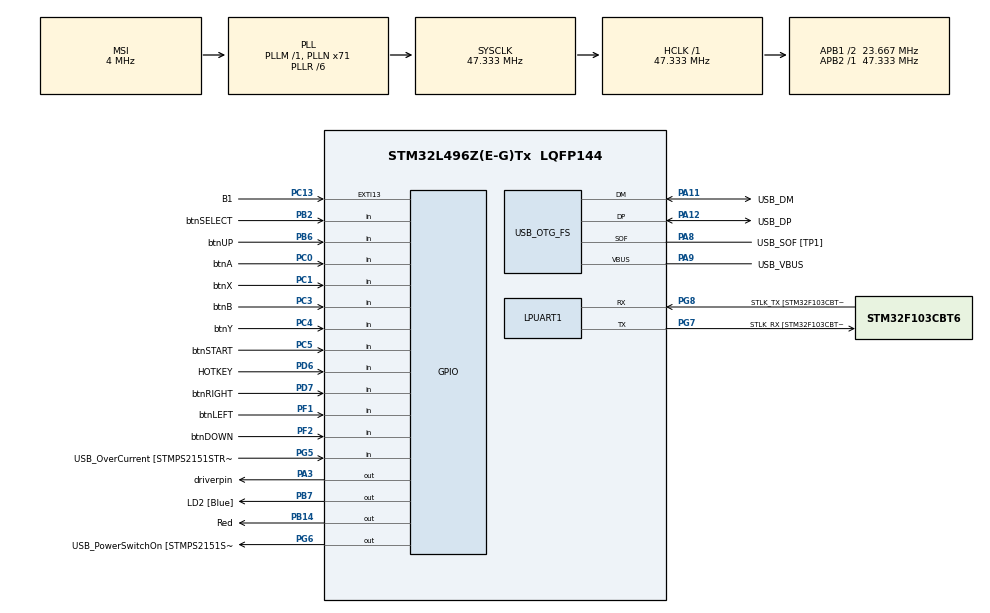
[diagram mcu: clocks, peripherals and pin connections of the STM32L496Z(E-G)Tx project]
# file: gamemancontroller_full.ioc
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FREERTOS.Tasks01=defaultTask,24,128,StartDefaultTask,Default,NULL,Dynamic,NULL,NULL
Mcu.Family=STM32L4
Mcu.Name=STM32L496Z(E-G)Tx
Mcu.Package=LQFP144
NVIC.OTG_FS_IRQn=true\:5\:0\:false\:false\:true\:true\:false\:true\:true
NVIC.PriorityGroup=NVIC_PRIORITYGROUP_4
PA10.GPIO_Label=USB_ID
PA10.Signal=USB_OTG_FS_ID
PA11.GPIO_Label=USB_DM
PA11.Mode=Device_Only
PA11.Signal=USB_OTG_FS_DM
PA12.GPIO_Label=USB_DP
PA12.Mode=Device_Only
PA12.Signal=USB_OTG_FS_DP
PA13\ (JTMS/SWDIO).GPIO_Label=TMS
PA13\ (JTMS/SWDIO).Mode=Trace_Asynchronous_SW
PA13\ (JTMS/SWDIO).Signal=SYS_JTMS-SWDIO
PA14\ (JTCK/SWCLK).GPIO_Label=TCK
PA14\ (JTCK/SWCLK).Mode=Trace_Asynchronous_SW
PA14\ (JTCK/SWCLK).Signal=SYS_JTCK-SWCLK
PA3.GPIO_Label=driverpin
PA3.Signal=GPIO_Output
PA8.GPIO_Label=USB_SOF [TP1]
PA8.Mode=Activate_SOF_FS
PA8.Signal=USB_OTG_FS_SOF
PA9.GPIO_Label=USB_VBUS
PA9.Mode=Activate_VBUS
PA9.Signal=USB_OTG_FS_VBUS
PB14.GPIO_Label=Red
PB14.Signal=GPIO_Output
PB2.GPIO_Label=btnSELECT
PB2.Signal=GPIO_Input
PB3\ (JTDO/TRACESWO).GPIO_Label=SWO
PB3\ (JTDO/TRACESWO).Mode=Trace_Asynchronous_SW
PB3\ (JTDO/TRACESWO).Signal=SYS_JTDO-SWO
PB6.GPIO_Label=btnUP
PB6.Signal=GPIO_Input
PB7.GPIO_Label=LD2 [Blue]
PB7.Signal=GPIO_Output
PC0.GPIO_Label=btnA
PC0.Signal=GPIO_Input
PC1.GPIO_Label=btnX
PC1.Signal=GPIO_Input
PC13.GPIO_Label=B1
PC13.Signal=GPXTI13
PC14-OSC32_IN\ (PC14).Mode=LSE-External-Oscillator
PC14-OSC32_IN\ (PC14).Signal=RCC_OSC32_IN
PC15-OSC32_OUT\ (PC15).Mode=LSE-External-Oscillator
PC15-OSC32_OUT\ (PC15).Signal=RCC_OSC32_OUT
PC3.GPIO_Label=btnB
PC3.Signal=GPIO_Input
PC4.GPIO_Label=btnY
PC4.Signal=GPIO_Input
PC5.GPIO_Label=btnSTART
PC5.Signal=GPIO_Input
PD6.GPIO_Label=HOTKEY
PD6.Signal=GPIO_Input
PD7.GPIO_Label=btnRIGHT
PD7.Signal=GPIO_Input
PF1.GPIO_Label=btnLEFT
PF1.Signal=GPIO_Input
PF2.GPIO_Label=btnDOWN
PF2.Signal=GPIO_Input
PG5.GPIO_Label=USB_OverCurrent [STMPS2151STR_FAULT]
PG5.Signal=GPIO_Input
PG6.GPIO_Label=USB_PowerSwitchOn [STMPS2151STR_EN]
PG6.Signal=GPIO_Output
PG7.GPIO_Label=STLK_RX [STM32F103CBT6_PA3]
PG7.Mode=Asynchronous
PG7.Signal=LPUART1_TX
PG8.GPIO_Label=STLK_TX [STM32F103CBT6_PA2]
PG8.Mode=Asynchronous
PG8.Signal=LPUART1_RX
PH1-OSC_OUT\ (PH1).Signal=RCC_OSC_OUT
ProjectManager.HeapSize=0x200
ProjectManager.StackSize=0x400
ProjectManager.TargetToolchain=STM32CubeIDE
RCC.48MHZClocksFreq_Value=24000000
RCC.ADCFreq_Value=48000000
RCC.AHBFreq_Value=47333333.333333336
RCC.APB1CLKDivider=RCC_HCLK_DIV2
RCC.APB1Freq_Value=23666666.666666668
RCC.APB1TimFreq_Value=47333333.333333336
RCC.APB2Freq_Value=47333333.333333336
RCC.APB2TimFreq_Value=47333333.333333336
RCC.CortexFreq_Value=47333333.333333336
RCC.HCLKFreq_Value=47333333.333333336
RCC.HSE_VALUE=8000000
RCC.HSI48_VALUE=48000000
RCC.HSI_VALUE=16000000
RCC.MSI_VALUE=4000000
RCC.PLLMUL=RCC_PLL_MUL9
RCC.PLLN=71
RCC.PLLR=RCC_PLLR_DIV6
RCC.PLLSAI1N=24
RCC.PRESCALERUSB=RCC_USBCLKSOURCE_PLL_DIV1_5
RCC.SYSCLKFreq_VALUE=47333333.333333336
RCC.SYSCLKSource=RCC_SYSCLKSOURCE_PLLCLK
RCC.SYSCLKSourceVirtual=RCC_SYSCLKSOURCE_PLLCLK
RCC.USBFreq_Value=48000000
RCC.VCOOutputFreq_Value=284000000
USB_DEVICE.CLASS_NAME_FS=HID
USB_DEVICE.VirtualMode=Hid
USB_DEVICE.VirtualModeFS=Hid_FS
USB_OTG_FS.VirtualMode=Device_Only
VP_FREERTOS_VS_CMSIS_V2.Mode=CMSIS_V2
VP_TIM2_VS_ClockSourceINT.Mode=Internal
VP_USB_DEVICE_VS_USB_DEVICE_HID_FS.Mode=HID_FS
board=NUCLEO-L496ZG

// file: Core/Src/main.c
/* USER CODE BEGIN Header */
/**
  ******************************************************************************
  * @file           : main.c
  * @brief          : Main program body
  ******************************************************************************
  * @attention
  *
  * Copyright (c) 2023 STMicroelectronics.
  * All rights reserved.
  *
  * This software is licensed under terms that can be found in the LICENSE file
  * in the root directory of this software component.
  * If no LICENSE file comes with this software, it is provided AS-IS.
  *
  ******************************************************************************
  */
/* USER CODE END Header */
#include "main.h"
#include "cmsis_os.h"
#include "usb_device.h"

/* USER CODE BEGIN Includes */
#include <stdbool.h>
#include "usbd_hid.h"
#include "capacitivekey.h"
/* USER CODE END Includes */

UART_HandleTypeDef hlpuart1;

TIM_HandleTypeDef htim2;

/* Definitions for defaultTask */
osThreadId_t defaultTaskHandle;
const osThreadAttr_t defaultTask_attributes = {
  .name = "defaultTask",
  .stack_size = 128 * 4,
  .priority = (osPriority_t) osPriorityNormal,
};
/* USER CODE BEGIN PV */
osThreadId_t checkkeysTaskHandle;
const osThreadAttr_t checkkeysTaskHandle_attributes = {
  .name = "checkkeytask",
  .stack_size = 456 * 4,
  .priority = (osPriority_t) osPriorityNormal,
};

extern USBD_HandleTypeDef hUsbDeviceFS;

typedef struct
{
	uint8_t MODIFIER;
	uint8_t RESERVED;
	uint8_t KEYCODE1;
	uint8_t KEYCODE2;
	uint8_t KEYCODE3;
	uint8_t KEYCODE4;
	uint8_t KEYCODE5;
	uint8_t KEYCODE6;
}subKeyBoard;

subKeyBoard keyBoardHIDsub = {0,0,0,0,0,0,0,0}; // needs to be global for funky pointer reasons

/* USER CODE END PV */

void SystemClock_Config(void);
static void MX_GPIO_Init(void);
static void MX_LPUART1_UART_Init(void);
static void MX_TIM2_Init(void);
void StartDefaultTask(void *argument);

/* USER CODE BEGIN PFP */
void checkkeys(void *argument);
/* USER CODE END PFP */

/* USER CODE BEGIN 0 */
// setup the list of keys
const uint8_t keycount = 11; // 4 buttons + 4 directional + start + select + hotkey

// A button
capkey_t buttonA;

// B button
capkey_t buttonB;

// X button
capkey_t buttonX;

// Y button
capkey_t buttonY;

// up button
capkey_t buttonUp;

// down button
capkey_t buttonDown;

// left button
capkey_t buttonLeft;

// right button
capkey_t buttonRight;

// select button
capkey_t buttonSelect;

// start button
capkey_t buttonStart;

// HOTKEY
capkey_t buttonHotkey;

/* USER CODE END 0 */

int main(void)
{

  /* MCU Configuration--------------------------------------------------------*/

  /* Reset of all peripherals, Initializes the Flash interface and the Systick. */
  HAL_Init();

  /* USER CODE BEGIN Init */
  buttonA.pinIndex = 0;
  //buttonA.pinName = "btnA";
  buttonA.gpioport = btnA_GPIO_Port;
  buttonA.gpiopin = btnA_Pin;
  buttonA.triggerTime = 3000;
  buttonA.keyCode = 0x04;

  // B button

  buttonB.pinIndex = 1;
  buttonB.gpioport = btnB_GPIO_Port;
  buttonB.gpiopin = btnB_Pin;
  buttonB.triggerTime = 3000;
  buttonB.keyCode = 0x05;

  // X button

  buttonX.pinIndex = 2;
  buttonX.gpioport = btnX_GPIO_Port;
  buttonX.gpiopin = btnX_Pin;
  buttonX.triggerTime = 3000;
  buttonX.keyCode = 0x1B;

  // Y button

  buttonY.pinIndex = 3;
  buttonY.gpioport = btnY_GPIO_Port;
  buttonY.gpiopin = btnY_Pin;
  buttonY.triggerTime = 3000;
  buttonY.keyCode = 0x1C;

  // up button

  buttonUp.pinIndex = 4;
  buttonUp.gpioport = btnUP_GPIO_Port;
  buttonUp.gpiopin = btnUP_Pin;
  buttonUp.triggerTime = 3000;
  buttonUp.keyCode = 0x52;

  // down button

  buttonDown.pinIndex = 5;
  buttonDown.gpioport = btnDOWN_GPIO_Port;
  buttonDown.gpiopin = btnDOWN_Pin;
  buttonDown.triggerTime = 3000;
  buttonDown.keyCode = 0x51;

  // left button

  buttonLeft.pinIndex = 6;
  buttonLeft.gpioport = btnLEFT_GPIO_Port;
  buttonLeft.gpiopin = btnLEFT_Pin;
  buttonLeft.triggerTime = 3000;
  buttonLeft.keyCode = 0x50;

  // right button

  buttonRight.pinIndex = 7;
  buttonRight.gpioport = btnRIGHT_GPIO_Port;
  buttonRight.gpiopin = btnRIGHT_Pin;
  buttonRight.triggerTime = 3000;
  buttonRight.keyCode = 0x4F;

  // select button

  buttonSelect.pinIndex = 8;
  buttonSelect.gpioport = btnSELECT_GPIO_Port;
  buttonSelect.gpiopin = btnSELECT_Pin;
  buttonSelect.triggerTime = 3000;
  buttonSelect.keyCode = 0x18; // scan key code for u

  // start button

  buttonStart.pinIndex = 9;
  buttonStart.gpioport = btnSTART_GPIO_Port;
  buttonStart.gpiopin = btnSTART_Pin;
  buttonStart.triggerTime = 3000;
  buttonStart.keyCode = 0x19; // scan key code for v

  // HOTKEY

  buttonHotkey.pinIndex = 10;
  buttonHotkey.gpioport = HOTKEY_GPIO_Port;
  buttonHotkey.gpiopin = HOTKEY_Pin;
  buttonHotkey.triggerTime = 3000;
  buttonHotkey.keyCode = 0x0B; // scan key code for h

  /* USER CODE END Init */

  /* Configure the system clock */
  SystemClock_Config();

  /* Initialize all configured peripherals */
  MX_GPIO_Init();
  MX_LPUART1_UART_Init();
  MX_TIM2_Init();

  /* Init scheduler */
  osKernelInitialize();

  /* Create the thread(s) */
  /* creation of defaultTask */
  defaultTaskHandle = osThreadNew(StartDefaultTask, NULL, &defaultTask_attributes);
  checkkeysTaskHandle = osThreadNew(checkkeys, NULL, &checkkeysTaskHandle_attributes);

  /* Start scheduler */
  osKernelStart();

  /* We should never get here as control is now taken by the scheduler */
  /* Infinite loop */
  while (1)
  {

  }
}

void SystemClock_Config(void)
{
  RCC_OscInitTypeDef RCC_OscInitStruct = {0};
  RCC_ClkInitTypeDef RCC_ClkInitStruct = {0};

  /** Configure the main internal regulator output voltage
  */
  if (HAL_PWREx_ControlVoltageScaling(PWR_REGULATOR_VOLTAGE_SCALE1) != HAL_OK)
  {
    Error_Handler();
  }

  /** Configure LSE Drive Capability
  */
  HAL_PWR_EnableBkUpAccess();
  __HAL_RCC_LSEDRIVE_CONFIG(RCC_LSEDRIVE_LOW);

  /** Initializes the RCC Oscillators according to the specified parameters
  * in the RCC_OscInitTypeDef structure.
  */
  RCC_OscInitStruct.OscillatorType = RCC_OSCILLATORTYPE_LSE|RCC_OSCILLATORTYPE_MSI;
  RCC_OscInitStruct.LSEState = RCC_LSE_ON;
  RCC_OscInitStruct.MSIState = RCC_MSI_ON;
  RCC_OscInitStruct.MSICalibrationValue = 0;
  RCC_OscInitStruct.MSIClockRange = RCC_MSIRANGE_6;
  RCC_OscInitStruct.PLL.PLLState = RCC_PLL_ON;
  RCC_OscInitStruct.PLL.PLLSource = RCC_PLLSOURCE_MSI;
  RCC_OscInitStruct.PLL.PLLM = 1;
  RCC_OscInitStruct.PLL.PLLN = 71;
  RCC_OscInitStruct.PLL.PLLP = RCC_PLLP_DIV2;
  RCC_OscInitStruct.PLL.PLLQ = RCC_PLLQ_DIV2;
  RCC_OscInitStruct.PLL.PLLR = RCC_PLLR_DIV6;
  if (HAL_RCC_OscConfig(&RCC_OscInitStruct) != HAL_OK)
  {
    Error_Handler();
  }

  /** Initializes the CPU, AHB and APB buses clocks
  */
  RCC_ClkInitStruct.ClockType = RCC_CLOCKTYPE_HCLK|RCC_CLOCKTYPE_SYSCLK
                              |RCC_CLOCKTYPE_PCLK1|RCC_CLOCKTYPE_PCLK2;
  RCC_ClkInitStruct.SYSCLKSource = RCC_SYSCLKSOURCE_PLLCLK;
  RCC_ClkInitStruct.AHBCLKDivider = RCC_SYSCLK_DIV1;
  RCC_ClkInitStruct.APB1CLKDivider = RCC_HCLK_DIV2;
  RCC_ClkInitStruct.APB2CLKDivider = RCC_HCLK_DIV1;

  if (HAL_RCC_ClockConfig(&RCC_ClkInitStruct, FLASH_LATENCY_2) != HAL_OK)
  {
    Error_Handler();
  }

  /** Enable MSI Auto calibration
  */
  HAL_RCCEx_EnableMSIPLLMode();
}

static void MX_LPUART1_UART_Init(void)
{

  hlpuart1.Instance = LPUART1;
  hlpuart1.Init.BaudRate = 209700;
  hlpuart1.Init.WordLength = UART_WORDLENGTH_7B;
  hlpuart1.Init.StopBits = UART_STOPBITS_1;
  hlpuart1.Init.Parity = UART_PARITY_NONE;
  hlpuart1.Init.Mode = UART_MODE_TX_RX;
  hlpuart1.Init.HwFlowCtl = UART_HWCONTROL_NONE;
  hlpuart1.Init.OneBitSampling = UART_ONE_BIT_SAMPLE_DISABLE;
  hlpuart1.AdvancedInit.AdvFeatureInit = UART_ADVFEATURE_NO_INIT;
  if (HAL_UART_Init(&hlpuart1) != HAL_OK)
  {
    Error_Handler();
  }

}

static void MX_TIM2_Init(void)
{

  TIM_ClockConfigTypeDef sClockSourceConfig = {0};
  TIM_MasterConfigTypeDef sMasterConfig = {0};

  htim2.Instance = TIM2;
  htim2.Init.Prescaler = 0;
  htim2.Init.CounterMode = TIM_COUNTERMODE_UP;
  htim2.Init.Period = 4294967295;
  htim2.Init.ClockDivision = TIM_CLOCKDIVISION_DIV1;
  htim2.Init.AutoReloadPreload = TIM_AUTORELOAD_PRELOAD_DISABLE;
  if (HAL_TIM_Base_Init(&htim2) != HAL_OK)
  {
    Error_Handler();
  }
  sClockSourceConfig.ClockSource = TIM_CLOCKSOURCE_INTERNAL;
  if (HAL_TIM_ConfigClockSource(&htim2, &sClockSourceConfig) != HAL_OK)
  {
    Error_Handler();
  }
  sMasterConfig.MasterOutputTrigger = TIM_TRGO_RESET;
  sMasterConfig.MasterSlaveMode = TIM_MASTERSLAVEMODE_DISABLE;
  if (HAL_TIMEx_MasterConfigSynchronization(&htim2, &sMasterConfig) != HAL_OK)
  {
    Error_Handler();
  }

}

static void MX_GPIO_Init(void)
{
  GPIO_InitTypeDef GPIO_InitStruct = {0};

  /* GPIO Ports Clock Enable */
  __HAL_RCC_GPIOC_CLK_ENABLE();
  __HAL_RCC_GPIOF_CLK_ENABLE();
  __HAL_RCC_GPIOH_CLK_ENABLE();
  __HAL_RCC_GPIOA_CLK_ENABLE();
  __HAL_RCC_GPIOB_CLK_ENABLE();
  __HAL_RCC_GPIOG_CLK_ENABLE();
  HAL_PWREx_EnableVddIO2();
  __HAL_RCC_GPIOD_CLK_ENABLE();

  /*Configure GPIO pin Output Level */
  HAL_GPIO_WritePin(driverpin_GPIO_Port, driverpin_Pin, GPIO_PIN_RESET);

  /*Configure GPIO pin Output Level */
  HAL_GPIO_WritePin(GPIOB, Red_Pin|LD2_Pin, GPIO_PIN_RESET);

  /*Configure GPIO pin Output Level */
  HAL_GPIO_WritePin(USB_PowerSwitchOn_GPIO_Port, USB_PowerSwitchOn_Pin, GPIO_PIN_RESET);

  /*Configure GPIO pin : B1_Pin */
  GPIO_InitStruct.Pin = B1_Pin;
  GPIO_InitStruct.Mode = GPIO_MODE_IT_RISING;
  GPIO_InitStruct.Pull = GPIO_NOPULL;
  HAL_GPIO_Init(B1_GPIO_Port, &GPIO_InitStruct);

  /*Configure GPIO pins : btnLEFT_Pin btnDOWN_Pin */
  GPIO_InitStruct.Pin = btnLEFT_Pin|btnDOWN_Pin;
  GPIO_InitStruct.Mode = GPIO_MODE_INPUT;
  GPIO_InitStruct.Pull = GPIO_NOPULL;
  HAL_GPIO_Init(GPIOF, &GPIO_InitStruct);

  /*Configure GPIO pins : btnA_Pin btnX_Pin btnB_Pin btnY_Pin
                           btnSTART_Pin */
  GPIO_InitStruct.Pin = btnA_Pin|btnX_Pin|btnB_Pin|btnY_Pin
                          |btnSTART_Pin;
  GPIO_InitStruct.Mode = GPIO_MODE_INPUT;
  GPIO_InitStruct.Pull = GPIO_NOPULL;
  HAL_GPIO_Init(GPIOC, &GPIO_InitStruct);

  /*Configure GPIO pin : driverpin_Pin */
  GPIO_InitStruct.Pin = driverpin_Pin;
  GPIO_InitStruct.Mode = GPIO_MODE_OUTPUT_PP;
  GPIO_InitStruct.Pull = GPIO_NOPULL;
  GPIO_InitStruct.Speed = GPIO_SPEED_FREQ_LOW;
  HAL_GPIO_Init(driverpin_GPIO_Port, &GPIO_InitStruct);

  /*Configure GPIO pins : btnSELECT_Pin btnUP_Pin */
  GPIO_InitStruct.Pin = btnSELECT_Pin|btnUP_Pin;
  GPIO_InitStruct.Mode = GPIO_MODE_INPUT;
  GPIO_InitStruct.Pull = GPIO_NOPULL;
  HAL_GPIO_Init(GPIOB, &GPIO_InitStruct);

  /*Configure GPIO pins : Red_Pin LD2_Pin */
  GPIO_InitStruct.Pin = Red_Pin|LD2_Pin;
  GPIO_InitStruct.Mode = GPIO_MODE_OUTPUT_PP;
  GPIO_InitStruct.Pull = GPIO_NOPULL;
  GPIO_InitStruct.Speed = GPIO_SPEED_FREQ_LOW;
  HAL_GPIO_Init(GPIOB, &GPIO_InitStruct);

  /*Configure GPIO pin : USB_OverCurrent_Pin */
  GPIO_InitStruct.Pin = USB_OverCurrent_Pin;
  GPIO_InitStruct.Mode = GPIO_MODE_INPUT;
  GPIO_InitStruct.Pull = GPIO_NOPULL;
  HAL_GPIO_Init(USB_OverCurrent_GPIO_Port, &GPIO_InitStruct);

  /*Configure GPIO pin : USB_PowerSwitchOn_Pin */
  GPIO_InitStruct.Pin = USB_PowerSwitchOn_Pin;
  GPIO_InitStruct.Mode = GPIO_MODE_OUTPUT_PP;
  GPIO_InitStruct.Pull = GPIO_NOPULL;
  GPIO_InitStruct.Speed = GPIO_SPEED_FREQ_LOW;
  HAL_GPIO_Init(USB_PowerSwitchOn_GPIO_Port, &GPIO_InitStruct);

  /*Configure GPIO pins : HOTKEY_Pin btnRIGHT_Pin */
  GPIO_InitStruct.Pin = HOTKEY_Pin|btnRIGHT_Pin;
  GPIO_InitStruct.Mode = GPIO_MODE_INPUT;
  GPIO_InitStruct.Pull = GPIO_NOPULL;
  HAL_GPIO_Init(GPIOD, &GPIO_InitStruct);

}

/* USER CODE BEGIN 4 */
void checkkeys(void *argument)
{
	// make sure to actually start the counter!
	HAL_TIM_Base_Start(&htim2);

//	// setup the list of keys
//	const uint8_t keycount = 11; // 4 buttons + 4 directional + start + select + hotkey
//
//	// A button
//	capkey_t buttonA;
//	buttonA.pinIndex = 0;
//	//buttonA.pinName = "btnA";
//	buttonA.gpioport = btnA_GPIO_Port;
//	buttonA.gpiopin = btnA_Pin;
//	buttonA.triggerTime = 3000;
//	buttonA.keyCode = 0x04;
//
//	// B button
//	capkey_t buttonB;
//	buttonB.pinIndex = 1;
//	buttonB.gpioport = btnB_GPIO_Port;
//	buttonB.gpiopin = btnB_Pin;
//	buttonB.triggerTime = 3000;
//	buttonB.keyCode = 0x05;
//
//	// X button
//	capkey_t buttonX;
//	buttonX.pinIndex = 2;
//	buttonX.gpioport = btnX_GPIO_Port;
//	buttonX.gpiopin = btnX_Pin;
//	buttonX.triggerTime = 3000;
//	buttonX.keyCode = 0x1B;
//
//	// Y button
//	capkey_t buttonY;
//	buttonY.pinIndex = 3;
//	buttonY.gpioport = btnY_GPIO_Port;
//	buttonY.gpiopin = btnY_Pin;
//	buttonY.triggerTime = 3000;
//	buttonY.keyCode = 0x1C;
//
//	// up button
//	capkey_t buttonUp;
//	buttonUp.pinIndex = 4;
//	buttonUp.gpioport = btnUP_GPIO_Port;
//	buttonUp.gpiopin = btnUP_Pin;
//	buttonUp.triggerTime = 3000;
//	buttonUp.keyCode = 0x52;
//
//	// down button
//	capkey_t buttonDown;
//	buttonDown.pinIndex = 5;
//	buttonDown.gpioport = btnDOWN_GPIO_Port;
//	buttonDown.gpiopin = btnDOWN_Pin;
//	buttonDown.triggerTime = 3000;
//	buttonDown.keyCode = 0x51;
//
//	// left button
//	capkey_t buttonLeft;
//	buttonLeft.pinIndex = 6;
//	buttonLeft.gpioport = btnLEFT_GPIO_Port;
//	buttonLeft.gpiopin = btnLEFT_Pin;
//	buttonLeft.triggerTime = 3000;
//	buttonLeft.keyCode = 0x50;
//
//	// right button
//	capkey_t buttonRight;
//	buttonRight.pinIndex = 7;
//	buttonRight.gpioport = btnRIGHT_GPIO_Port;
//	buttonRight.gpiopin = btnRIGHT_Pin;
//	buttonRight.triggerTime = 3000;
//	buttonRight.keyCode = 0x4F;
//
//	// select button
//	capkey_t buttonSelect;
//	buttonSelect.pinIndex = 8;
//	buttonSelect.gpioport = btnSELECT_GPIO_Port;
//	buttonSelect.gpiopin = btnSELECT_Pin;
//	buttonSelect.triggerTime = 3000;
//	buttonSelect.keyCode = 0x18; // scan key code for u
//
//	// start button
//	capkey_t buttonStart;
//	buttonStart.pinIndex = 9;
//	buttonStart.gpioport = btnSTART_GPIO_Port;
//	buttonStart.gpiopin = btnSTART_Pin;
//	buttonStart.triggerTime = 3000;
//	buttonStart.keyCode = 0x19; // scan key code for v
//
//	// HOTKEY
//	capkey_t buttonHotkey;
//	buttonHotkey.pinIndex = 10;
//	buttonHotkey.gpioport = HOTKEY_GPIO_Port;
//	buttonHotkey.gpiopin = HOTKEY_Pin;
//	buttonHotkey.triggerTime = 3000;
//	buttonHotkey.keyCode = 0x0B; // scan key code for h
//
//	capkey_t buttons[keycount];
//	buttons[0] = buttonA;
//	buttons[1] = buttonB;
//	buttons[2] = buttonX;
//	buttons[3] = buttonY;
//	buttons[4] = buttonUp;
//	buttons[5] = buttonDown;
//	buttons[6] = buttonLeft;
//	buttons[7] = buttonRight;
//	buttons[8] = buttonSelect;
//	buttons[9] = buttonStart;
//	buttons[10] = buttonHotkey;

	capkey_t buttons[keycount];
	buttons[0] = buttonA;
	buttons[1] = buttonB;
	buttons[2] = buttonX;
	buttons[3] = buttonY;
	buttons[4] = buttonUp;
	buttons[5] = buttonDown;
	buttons[6] = buttonLeft;
	buttons[7] = buttonRight;
	buttons[8] = buttonSelect;
	buttons[9] = buttonStart;
	buttons[10] = buttonHotkey;

	// main loop
	for(;;)
	{
		// iterate through all the keys and see if we got a hit
		for(uint8_t i=0;i<keycount;i++)
		{
			uint32_t keyTime = getKey(&buttons[i],&htim2); // run a hit scan for the keytime
			if(keyTime > buttons[i].triggerTime) // is the measured transient time greater than the recorded hit time?
			{
				// TODO: send the keycode to the client
				buttons[i].state = true;
			}
			else
			{
				buttons[i].state = false;
			}

			// if last state is false and current state is true then send a zero
			if(buttons[i].lastState == true && buttons[i].state == false)
			{
				// key up, send a zero
				HAL_GPIO_WritePin(Red_GPIO_Port,Red_Pin,0);
				keyBoardHIDsub.KEYCODE1 = 0x00; // zero for key up
			}
			else if(buttons[i].lastState == false && buttons[i].state == true)
			{
				// key down, send a key code
				HAL_GPIO_WritePin(Red_GPIO_Port,Red_Pin,1);
				keyBoardHIDsub.KEYCODE1 = buttons[i].keyCode;
			}

			// if a state change occured then update the keys
			if(buttons[i].state != buttons[i].lastState)
			{
				USBD_HID_SendReport(&hUsbDeviceFS,&keyBoardHIDsub,sizeof(keyBoardHIDsub));
			}

			buttons[i].lastState = buttons[i].state; // update the state
			osDelay(1);
		}

	}

}
/* USER CODE END 4 */

void StartDefaultTask(void *argument)
{
  /* init code for USB_DEVICE */
  MX_USB_DEVICE_Init();
  for(;;)
  {
    osDelay(1);
  }
}

void Error_Handler(void)
{
  __disable_irq();
  while (1)
  {
  }
}
